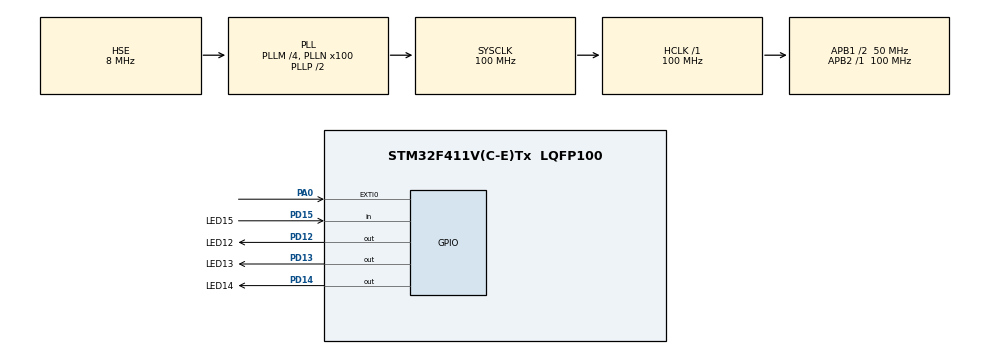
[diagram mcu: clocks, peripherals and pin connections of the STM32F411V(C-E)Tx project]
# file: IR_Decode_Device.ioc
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Mcu.Family=STM32F4
Mcu.Name=STM32F411V(C-E)Tx
Mcu.Package=LQFP100
NVIC.EXTI0_IRQn=true\:1\:0\:true\:false\:true\:true\:true
NVIC.PriorityGroup=NVIC_PRIORITYGROUP_4
NVIC.TIM2_IRQn=true\:1\:0\:true\:false\:true\:true\:true
PA0-WKUP.Signal=GPXTI0
PA13.Mode=Serial_Wire
PA13.Signal=SYS_JTMS-SWDIO
PA14.Mode=Serial_Wire
PA14.Signal=SYS_JTCK-SWCLK
PD12.GPIO_Label=LED12
PD12.Signal=GPIO_Output
PD13.GPIO_Label=LED13
PD13.Signal=GPIO_Output
PD14.GPIO_Label=LED14
PD14.Signal=GPIO_Output
PD15.GPIO_Label=LED15
PD15.Signal=GPIO_Input
PH0\ -\ OSC_IN.Mode=HSE-External-Oscillator
PH0\ -\ OSC_IN.Signal=RCC_OSC_IN
PH1\ -\ OSC_OUT.Mode=HSE-External-Oscillator
PH1\ -\ OSC_OUT.Signal=RCC_OSC_OUT
ProjectManager.HeapSize=0x200
ProjectManager.StackSize=0x400
ProjectManager.TargetToolchain=MDK-ARM V5.27
RCC.48MHZClocksFreq_Value=50000000
RCC.AHBFreq_Value=100000000
RCC.APB1CLKDivider=RCC_HCLK_DIV2
RCC.APB1Freq_Value=50000000
RCC.APB1TimFreq_Value=100000000
RCC.APB2Freq_Value=100000000
RCC.APB2TimFreq_Value=100000000
RCC.CortexFreq_Value=100000000
RCC.HCLKFreq_Value=100000000
RCC.HSE_VALUE=8000000
RCC.HSI_VALUE=16000000
RCC.LSE_VALUE=32768
RCC.PLLM=4
RCC.PLLN=100
RCC.PLLSourceVirtual=RCC_PLLSOURCE_HSE
RCC.SYSCLKFreq_VALUE=100000000
RCC.SYSCLKSource=RCC_SYSCLKSOURCE_PLLCLK
RCC.VCOOutputFreq_Value=200000000
TIM2.Period=99
TIM2.Prescaler=99
VP_TIM2_VS_ClockSourceINT.Mode=Internal
board=custom

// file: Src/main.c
/* USER CODE BEGIN Header */
/**
  ******************************************************************************
  * @file           : main.c
  * @brief          : Main program body
  ******************************************************************************
  * @attention
  *
  * <h2><center>&copy; Copyright (c) 2020 STMicroelectronics.
  * All rights reserved.</center></h2>
  *
  * This software component is licensed by ST under BSD 3-Clause license,
  * the "License"; You may not use this file except in compliance with the
  * License. You may obtain a copy of the License at:
  *                        opensource.org/licenses/BSD-3-Clause
  *
  ******************************************************************************
  */
/* USER CODE END Header */

#include "main.h"

TIM_HandleTypeDef htim2;

void SystemClock_Config(void);
static void MX_GPIO_Init(void);
static void MX_TIM2_Init(void);

/* USER CODE BEGIN 0 */
uint8_t vrucIR_count;										// Bien dem trong timer
uint8_t vrucTIM_flag;										// Co cho phep timer hoat dong
uint8_t IR_frames[32];									// Khung truyen IR[]
uint8_t bits;														// Phan tu trong khung truyen
uint8_t vrucIR_check;										// Bien kiem tra xem da bat du khung truyen chuwa
uint32_t code;													// Code giai ma IR

// - Ngat timer - //
void HAL_TIM_PeriodElapsedCallback(TIM_HandleTypeDef *htim)					// 0.1 ms = 100 us thi xay ra tran timer
{
	if(vrucTIM_flag == 1)
	{
		vrucIR_count ++;										// Tang bien count len 1 don vi, tuong ung 100 us
		//HAL_GPIO_TogglePin(ACTIVE_LED_GPIO_Port,ACTIVE_LED_Pin);
	}
}
// - Ngat ngoai - //
void HAL_GPIO_EXTI_Callback(uint16_t GPIO_Pin)
{
	HAL_TIM_Base_Start_IT(&htim2);				// Bat timer
  vrucTIM_flag = 1;											// Cho phep timer chay
	if(vrucIR_count >= 40 && vrucIR_count <= 140)			//
	{
		bits = 0;
	}
	IR_frames[bits] = vrucIR_count;
	vrucIR_count = 0;
	bits ++;
	if(bits >= 33)
	{
		vrucTIM_flag = 0;
		bits = 0;
		vrucIR_count = 0;
		vrucIR_check = 1;
	}
	//HAL_GPIO_TogglePin(RECEIVED_LED_GPIO_Port,RECEIVED_LED_Pin);
}

// Ham decode ma IR
uint32_t vrtemp = 0x0000;
uint32_t fnIR_decode(uint8_t start_pos,uint8_t end_pos)
{
	vrtemp =0x0000;
	for(int i=start_pos;i<=end_pos;i++)
	{
		vrtemp <<= 1;
		if(IR_frames[i] >= 9 && IR_frames[i] <= 13)
		{
			vrtemp |= 1;
		}
		else if(IR_frames[i] >= 20 && IR_frames[i] <= 28)
		{
			vrtemp |= 0;
		}
	}
	return vrtemp;
}

void fnErase_frames()
{
	for(int i=0;i<33;i++)
	{
		IR_frames[i] = 0;
	}
}

void fnAll_Led()
{
	HAL_GPIO_TogglePin(GPIOD,GPIO_PIN_12);
	HAL_GPIO_TogglePin(GPIOD,GPIO_PIN_13);
	HAL_GPIO_TogglePin(GPIOD,GPIO_PIN_14);
}

/* USER CODE END 0 */

int main(void)
{

  /* MCU Configuration--------------------------------------------------------*/

  /* Reset of all peripherals, Initializes the Flash interface and the Systick. */
  HAL_Init();

  /* Configure the system clock */
  SystemClock_Config();

  /* Initialize all configured peripherals */
  MX_GPIO_Init();
  MX_TIM2_Init();

  /* Infinite loop */
  /* USER CODE BEGIN WHILE */
  while (1)
  {
    /* USER CODE BEGIN 3 */
		if(vrucIR_check == 1)
		{
			code = fnIR_decode(0,32);
			switch(code)
			{
				case 0xFF0047B8:
					HAL_GPIO_TogglePin(LED12_GPIO_Port,LED12_Pin);
					break;
				case 0xFF009768:
					HAL_GPIO_TogglePin(LED13_GPIO_Port,LED13_Pin);
					break;
				case 0xFF00A758:
					HAL_GPIO_TogglePin(LED14_GPIO_Port,LED14_Pin);
					break;
				case 0xFF00C738:
					fnAll_Led();
					break;
			}
			vrucTIM_flag = 0;
			fnErase_frames();
			vrucIR_check = 0;

		}

  }
  /* USER CODE END 3 */
}

void SystemClock_Config(void)
{
  RCC_OscInitTypeDef RCC_OscInitStruct = {0};
  RCC_ClkInitTypeDef RCC_ClkInitStruct = {0};

  /** Configure the main internal regulator output voltage
  */
  __HAL_RCC_PWR_CLK_ENABLE();
  __HAL_PWR_VOLTAGESCALING_CONFIG(PWR_REGULATOR_VOLTAGE_SCALE1);
  /** Initializes the CPU, AHB and APB busses clocks
  */
  RCC_OscInitStruct.OscillatorType = RCC_OSCILLATORTYPE_HSE;
  RCC_OscInitStruct.HSEState = RCC_HSE_ON;
  RCC_OscInitStruct.PLL.PLLState = RCC_PLL_ON;
  RCC_OscInitStruct.PLL.PLLSource = RCC_PLLSOURCE_HSE;
  RCC_OscInitStruct.PLL.PLLM = 4;
  RCC_OscInitStruct.PLL.PLLN = 100;
  RCC_OscInitStruct.PLL.PLLP = RCC_PLLP_DIV2;
  RCC_OscInitStruct.PLL.PLLQ = 4;
  if (HAL_RCC_OscConfig(&RCC_OscInitStruct) != HAL_OK)
  {
    Error_Handler();
  }
  /** Initializes the CPU, AHB and APB busses clocks
  */
  RCC_ClkInitStruct.ClockType = RCC_CLOCKTYPE_HCLK|RCC_CLOCKTYPE_SYSCLK
                              |RCC_CLOCKTYPE_PCLK1|RCC_CLOCKTYPE_PCLK2;
  RCC_ClkInitStruct.SYSCLKSource = RCC_SYSCLKSOURCE_PLLCLK;
  RCC_ClkInitStruct.AHBCLKDivider = RCC_SYSCLK_DIV1;
  RCC_ClkInitStruct.APB1CLKDivider = RCC_HCLK_DIV2;
  RCC_ClkInitStruct.APB2CLKDivider = RCC_HCLK_DIV1;

  if (HAL_RCC_ClockConfig(&RCC_ClkInitStruct, FLASH_LATENCY_3) != HAL_OK)
  {
    Error_Handler();
  }
}

static void MX_TIM2_Init(void)
{

  TIM_ClockConfigTypeDef sClockSourceConfig = {0};
  TIM_MasterConfigTypeDef sMasterConfig = {0};

  htim2.Instance = TIM2;
  htim2.Init.Prescaler = 99;
  htim2.Init.CounterMode = TIM_COUNTERMODE_UP;
  htim2.Init.Period = 99;
  htim2.Init.ClockDivision = TIM_CLOCKDIVISION_DIV1;
  htim2.Init.AutoReloadPreload = TIM_AUTORELOAD_PRELOAD_DISABLE;
  if (HAL_TIM_Base_Init(&htim2) != HAL_OK)
  {
    Error_Handler();
  }
  sClockSourceConfig.ClockSource = TIM_CLOCKSOURCE_INTERNAL;
  if (HAL_TIM_ConfigClockSource(&htim2, &sClockSourceConfig) != HAL_OK)
  {
    Error_Handler();
  }
  sMasterConfig.MasterOutputTrigger = TIM_TRGO_RESET;
  sMasterConfig.MasterSlaveMode = TIM_MASTERSLAVEMODE_DISABLE;
  if (HAL_TIMEx_MasterConfigSynchronization(&htim2, &sMasterConfig) != HAL_OK)
  {
    Error_Handler();
  }

}

static void MX_GPIO_Init(void)
{
  GPIO_InitTypeDef GPIO_InitStruct = {0};

  /* GPIO Ports Clock Enable */
  __HAL_RCC_GPIOH_CLK_ENABLE();
  __HAL_RCC_GPIOA_CLK_ENABLE();
  __HAL_RCC_GPIOD_CLK_ENABLE();

  /*Configure GPIO pin Output Level */
  HAL_GPIO_WritePin(GPIOD, LED12_Pin|LED13_Pin|LED14_Pin, GPIO_PIN_RESET);

  /*Configure GPIO pin : PA0 */
  GPIO_InitStruct.Pin = GPIO_PIN_0;
  GPIO_InitStruct.Mode = GPIO_MODE_IT_RISING;
  GPIO_InitStruct.Pull = GPIO_NOPULL;
  HAL_GPIO_Init(GPIOA, &GPIO_InitStruct);

  /*Configure GPIO pins : LED12_Pin LED13_Pin LED14_Pin */
  GPIO_InitStruct.Pin = LED12_Pin|LED13_Pin|LED14_Pin;
  GPIO_InitStruct.Mode = GPIO_MODE_OUTPUT_PP;
  GPIO_InitStruct.Pull = GPIO_NOPULL;
  GPIO_InitStruct.Speed = GPIO_SPEED_FREQ_LOW;
  HAL_GPIO_Init(GPIOD, &GPIO_InitStruct);

  /*Configure GPIO pin : LED15_Pin */
  GPIO_InitStruct.Pin = LED15_Pin;
  GPIO_InitStruct.Mode = GPIO_MODE_INPUT;
  GPIO_InitStruct.Pull = GPIO_NOPULL;
  HAL_GPIO_Init(LED15_GPIO_Port, &GPIO_InitStruct);

  /* EXTI interrupt init*/
  HAL_NVIC_SetPriority(EXTI0_IRQn, 1, 0);
  HAL_NVIC_EnableIRQ(EXTI0_IRQn);

}

void Error_Handler(void)
{
}

/************************ (C) COPYRIGHT STMicroelectronics *****END OF FILE****/
